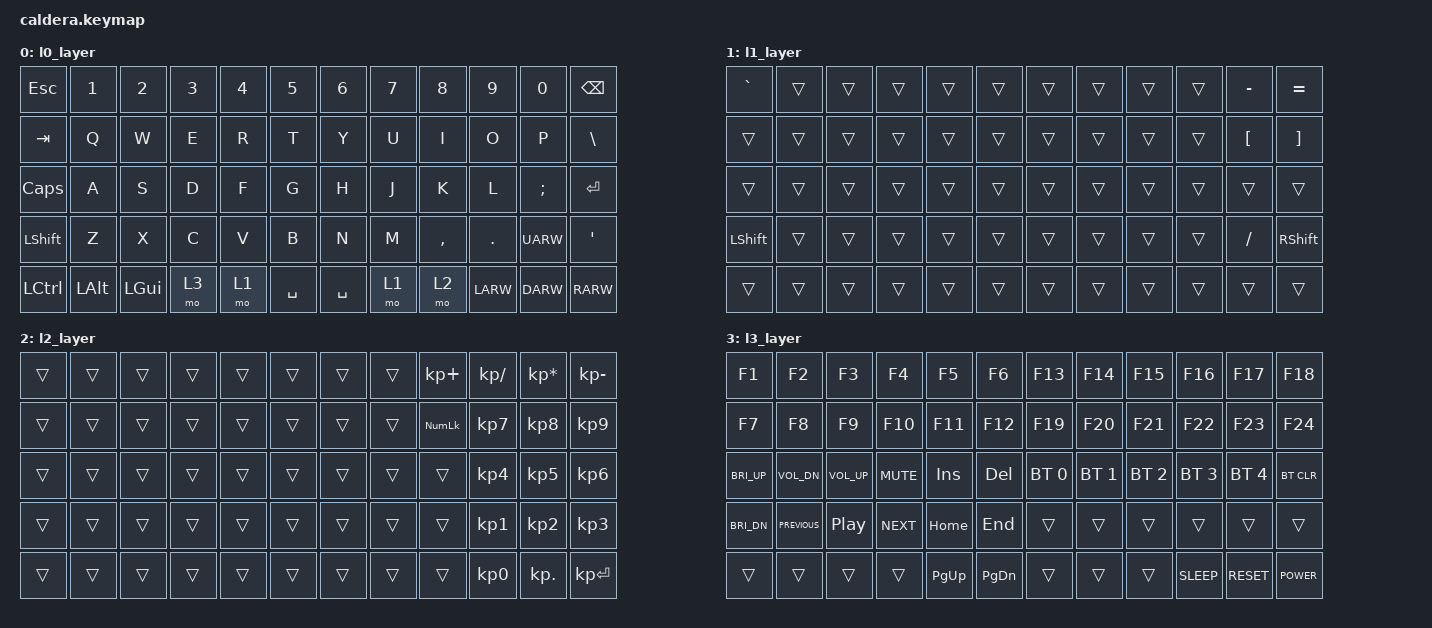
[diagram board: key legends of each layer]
#include <behaviors.dtsi>
#include <dt-bindings/zmk/keys.h>
#include <dt-bindings/zmk/bt.h>

/ {
        keymap {
                compatible = "zmk,keymap";

                /* default layer. Most normal keys here */
                l0_layer {
//  +--------+--------+--------+--------+--------+--------+     +--------+--------+--------+--------+--------+--------+
//  |  ESC   |   1    |   2    |   3    |   4    |   5    |     |   6    |   7    |   8    |   9    |   0    |  BKSP  |
//  +--------+--------+--------+--------+--------+--------+     +--------+--------+--------+--------+--------+--------+
//  |  TAB   |   Q    |   W    |   E    |   R    |   T    |     |   Y    |   U    |   I    |   O    |   P    |   \    |
//  +--------+--------+--------+--------+--------+--------+     +--------+--------+--------+--------+--------+--------+
//  |  CAPS  |   A    |   S    |   D    |   F    |   G    |     |   H    |   J    |   K    |   L    |   ;    |  ENT   |
//  +--------+--------+--------+--------+--------+--------+     +--------+--------+--------+--------+--------+--------+
//  |  SHFT  |   Z    |   X    |   C    |   V    |   B    |     |   N    |   M    |   ,    |   .    |   UP   |  APOS  |
//  +--------+--------+--------+--------+--------+--------+     +--------+--------+--------+--------+--------+--------+
//  |  CTRL  |  ALT   |  GUI   |   L3   |  L1    |  SPC   |     |  SPC   |   L1   |   L2   |  LEFT  |  DOWN  |  RIGHT |
//  +--------+--------+--------+--------+--------+--------+     +--------+--------+--------+--------+--------+--------+
                        bindings = <
   &kp ESC    &kp N1     &kp N2     &kp N3     &kp N4     &kp N5        &kp N6     &kp N7     &kp N8     &kp N9     &kp N0     &kp BSPC
   &kp TAB    &kp Q      &kp W      &kp E      &kp R      &kp T         &kp Y      &kp U      &kp I      &kp O      &kp P      &kp BSLH
   &kp CAPS   &kp A      &kp S      &kp D      &kp F      &kp G         &kp H      &kp J      &kp K      &kp L      &kp SEMI   &kp RET
   &kp LSHFT  &kp Z      &kp X      &kp C      &kp V      &kp B         &kp N      &kp M      &kp COMMA  &kp DOT    &kp UARW   &kp APOS
   &kp LCTRL  &kp LALT   &kp LGUI   &mo 3      &mo 1      &kp SPACE     &kp SPACE  &mo 1      &mo 2      &kp LARW   &kp DARW   &kp RARW
                        >;
                };

                /* chopped off keys from default layer positioned close to where they normally would be otherwise */
                l1_layer {
//  +--------+--------+--------+--------+--------+--------+     +--------+--------+--------+--------+--------+--------+
//  |   `    |        |        |        |        |        |     |        |        |        |        |  MINUS |  EQUAL |
//  +--------+--------+--------+--------+--------+--------+     +--------+--------+--------+--------+--------+--------+
//  |        |        |        |        |        |        |     |        |        |        |        |   [    |   ]    |
//  +--------+--------+--------+--------+--------+--------+     +--------+--------+--------+--------+--------+--------+
//  |        |        |        |        |        |        |     |        |        |        |        |        |        |
//  +--------+--------+--------+--------+--------+--------+     +--------+--------+--------+--------+--------+--------+
//  |  SHFT  |        |        |        |        |        |     |        |        |        |        |   /    |  SHFT  |
//  +--------+--------+--------+--------+--------+--------+     +--------+--------+--------+--------+--------+--------+
//  |        |        |        |        |        |        |     |        |        |        |        |        |        |
//  +--------+--------+--------+--------+--------+--------+     +--------+--------+--------+--------+--------+--------+
                        bindings = <
   &kp GRAVE  &trans     &trans     &trans     &trans     &trans        &trans     &trans     &trans     &trans     &kp MINUS  &kp EQUAL
   &trans     &trans     &trans     &trans     &trans     &trans        &trans     &trans     &trans     &trans     &kp LBKT   &kp RBKT
   &trans     &trans     &trans     &trans     &trans     &trans        &trans     &trans     &trans     &trans     &trans     &trans
   &kp LSHFT  &trans     &trans     &trans     &trans     &trans        &trans     &trans     &trans     &trans     &kp FSLH   &kp RSHFT
   &trans     &trans     &trans     &trans     &trans     &trans        &trans     &trans     &trans     &trans     &trans     &trans
                        >;
                };

                /* keypad */
                l2_layer {
//  +--------+--------+--------+--------+--------+--------+     +--------+--------+--------+--------+--------+--------+
//  |        |        |        |        |        |        |     |        |        |   +    |   /    |   *    |   -    |
//  +--------+--------+--------+--------+--------+--------+     +--------+--------+--------+--------+--------+--------+
//  |        |        |        |        |        |        |     |        |        |  NMLK  |   7    |   8    |   9    |
//  +--------+--------+--------+--------+--------+--------+     +--------+--------+--------+--------+--------+--------+
//  |        |        |        |        |        |        |     |        |        |        |   4    |   5    |   6    |
//  +--------+--------+--------+--------+--------+--------+     +--------+--------+--------+--------+--------+--------+
//  |        |        |        |        |        |        |     |        |        |        |   1    |   2    |   3    |
//  +--------+--------+--------+--------+--------+--------+     +--------+--------+--------+--------+--------+--------+
//  |        |        |        |        |        |        |     |        |        |        |   0    |  DOT   |  ENT   |
//  +--------+--------+--------+--------+--------+--------+     +--------+--------+--------+--------+--------+--------+
                        bindings = <
   &trans     &trans     &trans     &trans     &trans     &trans        &trans     &trans     &kp KP_PLUS     &kp KP_SLASH   &kp KP_ASTERISK  &kp KP_MINUS
   &trans     &trans     &trans     &trans     &trans     &trans        &trans     &trans     &kp KP_NUMLOCK  &kp KP_N7      &kp KP_N8        &kp KP_N9   
   &trans     &trans     &trans     &trans     &trans     &trans        &trans     &trans     &trans          &kp KP_N4      &kp KP_N5        &kp KP_N6   
   &trans     &trans     &trans     &trans     &trans     &trans        &trans     &trans     &trans          &kp KP_N1      &kp KP_N2        &kp KP_N3   
   &trans     &trans     &trans     &trans     &trans     &trans        &trans     &trans     &trans          &kp KP_N0      &kp KP_DOT       &kp KP_ENTER
                        >;
                };

                /* Uncommon keys: FN, bluetooth pairing profiles, etc. */
                /* BT_CLR clears all existing connections including the connection between the split keyboard's two halves. */
                l3_layer {
//  +--------+--------+--------+--------+--------+--------+     +--------+--------+--------+--------+--------+--------+
//  |   F1   |   F2   |   F3   |   F4   |   F5   |   F6   |     |  F13   |  F14   |  F15   |  F16   |  F17   |  F18   |
//  +--------+--------+--------+--------+--------+--------+     +--------+--------+--------+--------+--------+--------+
//  |   F7   |   F8   |   F9   |  F10   |  F11   |  F12   |     |  F19   |  F20   |  F21   |  F22   |  F23   |  F24   |
//  +--------+--------+--------+--------+--------+--------+     +--------+--------+--------+--------+--------+--------+
//  | BRI UP | VOL DN | VOL UP |  MUTE  |  INS   |  DEL   |     |  BT1   |  BT2   |  BT3   |  BT4   |  BT5   | BTCLR  |
//  +--------+--------+--------+--------+--------+--------+     +--------+--------+--------+--------+--------+--------+
//  | BRI DN |  PREV  |PLAY/PAU|  NEXT  |  HOME  |  END   |     |        |        |        |        |        |        |
//  +--------+--------+--------+--------+--------+--------+     +--------+--------+--------+--------+--------+--------+
//  |        |        |        |        | PG_UP  | PG_DN  |     |        |        |        | SLEEP  | RESET  | POWER  |
//  +--------+--------+--------+--------+--------+--------+     +--------+--------+--------+--------+--------+--------+
                        bindings = <
   &kp F1        &kp F2         &kp F3         &kp F4         &kp F5        &kp F6            &kp F13       &kp F14       &kp F15       &kp F16       &kp F17       &kp F18
   &kp F7        &kp F8         &kp F9         &kp F10        &kp F11       &kp F12           &kp F19       &kp F20       &kp F21       &kp F22       &kp F23       &kp F24
   &kp C_BRI_UP  &kp C_VOL_DN   &kp C_VOL_UP   &kp C_MUTE     &kp INS       &kp DEL           &bt BT_SEL 0  &bt BT_SEL 1  &bt BT_SEL 2  &bt BT_SEL 3  &bt BT_SEL 4  &bt BT_CLR
   &kp C_BRI_DN  &kp C_PREVIOUS &kp C_PP       &kp C_NEXT     &kp HOME      &kp END           &trans        &trans        &trans        &trans        &trans        &trans
   &trans        &trans         &trans         &trans         &kp PG_UP     &kp PG_DN         &trans        &trans        &trans        &kp C_SLEEP   &kp C_RESET   &kp C_POWER
                        >;
                };
        };
};
